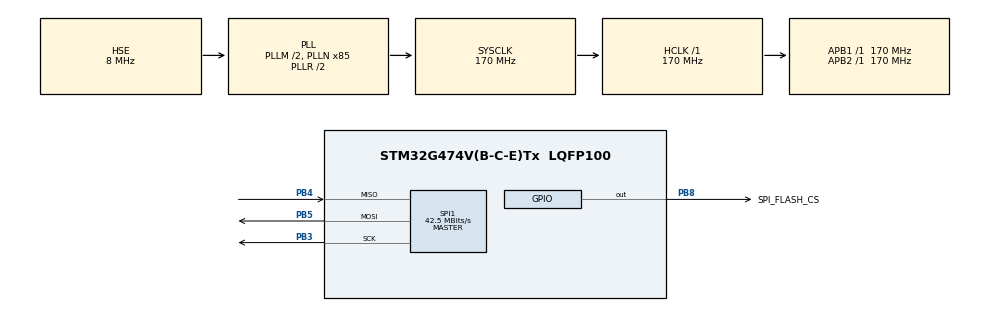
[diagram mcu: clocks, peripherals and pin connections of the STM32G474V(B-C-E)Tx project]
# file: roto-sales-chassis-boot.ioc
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Mcu.Family=STM32G4
Mcu.Name=STM32G474V(B-C-E)Tx
Mcu.Package=LQFP100
NVIC.PriorityGroup=NVIC_PRIORITYGROUP_4
PA13.Mode=Serial_Wire
PA13.Signal=SYS_JTMS-SWDIO
PA14.Mode=Serial_Wire
PA14.Signal=SYS_JTCK-SWCLK
PB3.Mode=Full_Duplex_Master
PB3.Signal=SPI1_SCK
PB4.Mode=Full_Duplex_Master
PB4.Signal=SPI1_MISO
PB5.Mode=Full_Duplex_Master
PB5.Signal=SPI1_MOSI
PB8-BOOT0.GPIO_Label=SPI_FLASH_CS
PB8-BOOT0.Signal=GPIO_Output
PF0-OSC_IN.Mode=HSE-External-Oscillator
PF0-OSC_IN.Signal=RCC_OSC_IN
PF1-OSC_OUT.Mode=HSE-External-Oscillator
PF1-OSC_OUT.Signal=RCC_OSC_OUT
ProjectManager.HeapSize=0x200
ProjectManager.StackSize=0x400
ProjectManager.TargetToolchain=Makefile
RCC.ADC12Freq_Value=170000000
RCC.ADC345Freq_Value=170000000
RCC.AHBFreq_Value=170000000
RCC.APB1Freq_Value=170000000
RCC.APB1TimFreq_Value=170000000
RCC.APB2Freq_Value=170000000
RCC.APB2TimFreq_Value=170000000
RCC.CortexFreq_Value=170000000
RCC.EXTERNAL_CLOCK_VALUE=12288000
RCC.HCLKFreq_Value=170000000
RCC.HSE_VALUE=8000000
RCC.HSI48_VALUE=48000000
RCC.HSI_VALUE=16000000
RCC.LSE_VALUE=32768
RCC.PLLM=RCC_PLLM_DIV2
RCC.PLLN=85
RCC.PLLSourceVirtual=RCC_PLLSOURCE_HSE
RCC.SYSCLKFreq_VALUE=170000000
RCC.SYSCLKSource=RCC_SYSCLKSOURCE_PLLCLK
RCC.USBFreq_Value=170000000
RCC.VCOOutputFreq_Value=340000000
SPI1.BaudRatePrescaler=SPI_BAUDRATEPRESCALER_4
SPI1.CalculateBaudRate=42.5 MBits/s
SPI1.Direction=SPI_DIRECTION_2LINES
SPI1.Mode=SPI_MODE_MASTER
SPI1.VirtualType=VM_MASTER
VP_SYS_VS_DBSignals.Mode=DisableDeadBatterySignals
board=custom

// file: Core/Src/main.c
/* USER CODE BEGIN Header */
/**
  ******************************************************************************
  * @file           : main.c
  * @brief          : Main program body
  ******************************************************************************
  * @attention
  *
  * Copyright (c) 2026 STMicroelectronics.
  * All rights reserved.
  *
  * This software is licensed under terms that can be found in the LICENSE file
  * in the root directory of this software component.
  * If no LICENSE file comes with this software, it is provided AS-IS.
  *
  ******************************************************************************
  */
/* USER CODE END Header */
#include "main.h"
#include "spi.h"
#include "gpio.h"

/* USER CODE BEGIN Includes */
extern void Boot_MainStateMachine(void);
/* USER CODE END Includes */

void SystemClock_Config(void);

/* USER CODE BEGIN 0 */
void Error_Blink_LED(void) {
    // 纯硬件级别的点灯，不需要 HAL 库
    // 开启 GPIOE 时钟
    RCC->AHB2ENR |= (1 << 4);

    // 配置 PE0 为输出
    GPIOE->MODER &= ~(3 << 0);
    GPIOE->MODER |= (1 << 0);

    while(1) {
        GPIOE->BSRR = (1 << 16); // 灭 PE0 (高电平)
        for(volatile int i=0; i<500000; i++);
        GPIOE->BSRR = (1 << 0);  // 亮 PE0 (低电平)
        for(volatile int i=0; i<500000; i++);
    }
}
/* USER CODE END 0 */

int main(void)
{
  /* USER CODE BEGIN 1 */

  // 在最开头强制点亮 PE0 (低电平)
  RCC->AHB2ENR |= (1 << 4);     // 开 GPIOE 时钟
  GPIOE->MODER &= ~(3 << 0);    // 清空 PE0 模式
  GPIOE->MODER |= (1 << 0);     // PE0 设为输出
  GPIOE->BSRR = (1 << 0);       // 输出低电平，点亮 LED
  /* USER CODE END 1 */

  /* MCU Configuration--------------------------------------------------------*/

  /* Reset of all peripherals, Initializes the Flash interface and the Systick. */
  HAL_Init();

  /* Configure the system clock */
  SystemClock_Config();

  /* Initialize all configured peripherals */
  MX_GPIO_Init();
  MX_SPI1_Init();
  /* USER CODE BEGIN 2 */
  Boot_MainStateMachine();
  /* USER CODE END 2 */

  /* Infinite loop */
  while (1)
  {

  }
}

void SystemClock_Config(void)
{
  RCC_OscInitTypeDef RCC_OscInitStruct = {0};
  RCC_ClkInitTypeDef RCC_ClkInitStruct = {0};

  /** Configure the main internal regulator output voltage
  */
  HAL_PWREx_ControlVoltageScaling(PWR_REGULATOR_VOLTAGE_SCALE1_BOOST);

  /** Initializes the RCC Oscillators according to the specified parameters
  * in the RCC_OscInitTypeDef structure.
  */
  RCC_OscInitStruct.OscillatorType = RCC_OSCILLATORTYPE_HSE;
  RCC_OscInitStruct.HSEState = RCC_HSE_ON;
  RCC_OscInitStruct.PLL.PLLState = RCC_PLL_ON;
  RCC_OscInitStruct.PLL.PLLSource = RCC_PLLSOURCE_HSE;
  RCC_OscInitStruct.PLL.PLLM = RCC_PLLM_DIV2;
  RCC_OscInitStruct.PLL.PLLN = 85;
  RCC_OscInitStruct.PLL.PLLP = RCC_PLLP_DIV2;
  RCC_OscInitStruct.PLL.PLLQ = RCC_PLLQ_DIV2;
  RCC_OscInitStruct.PLL.PLLR = RCC_PLLR_DIV2;
  if (HAL_RCC_OscConfig(&RCC_OscInitStruct) != HAL_OK)
  {
    Error_Handler();
  }

  /** Initializes the CPU, AHB and APB buses clocks
  */
  RCC_ClkInitStruct.ClockType = RCC_CLOCKTYPE_HCLK|RCC_CLOCKTYPE_SYSCLK
                              |RCC_CLOCKTYPE_PCLK1|RCC_CLOCKTYPE_PCLK2;
  RCC_ClkInitStruct.SYSCLKSource = RCC_SYSCLKSOURCE_PLLCLK;
  RCC_ClkInitStruct.AHBCLKDivider = RCC_SYSCLK_DIV1;
  RCC_ClkInitStruct.APB1CLKDivider = RCC_HCLK_DIV1;
  RCC_ClkInitStruct.APB2CLKDivider = RCC_HCLK_DIV1;

  if (HAL_RCC_ClockConfig(&RCC_ClkInitStruct, FLASH_LATENCY_4) != HAL_OK)
  {
    Error_Handler();
  }
}

void Error_Handler(void)
{
  /* USER CODE BEGIN Error_Handler_Debug */
  /* User can add his own implementation to report the HAL error return state */
  __disable_irq();
  Error_Blink_LED(); // 如果时钟配置失败，红灯会慢闪
  while (1)
  {
  }
  /* USER CODE END Error_Handler_Debug */
}
